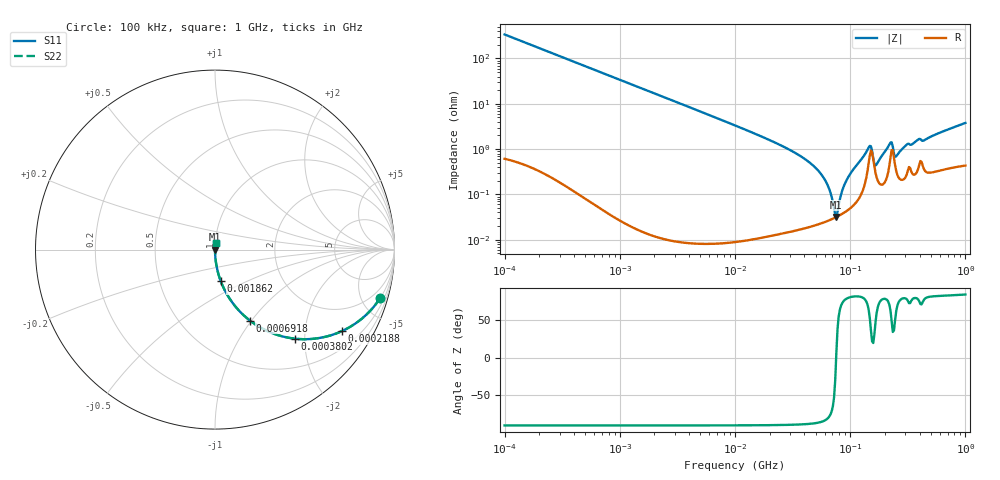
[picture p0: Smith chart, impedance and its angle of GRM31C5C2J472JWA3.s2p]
!Murata Part Number: GRM31C5C2J472JWA3
!These Parameters are Measured in Series Mode Connection
!Data Generated on Mar 30, 2021
!  o--ll--o
!Port1  Port2
!  o------o
!Operation Temp=25[degC], DC Bias Voltage=0[V]
!Freq. Start=100[kHz] Stop=1000[MHz] 401[Steps]
# Hz S RI R 50
!Freq.(Hz) S11(Real) S11(Imag) S21(Real) S21(Imag) S12(Real) S12(Imag) S22(Real) S22(Imag)
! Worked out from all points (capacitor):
!   401 points, 100 kHz to 1 GHz, reference 50 ohm
!   read as one part in series: C = 4.69 nF near 104.7 kHz
!   lowest |Z| = 32 mohm at 75.86 MHz (marker M1)
!   series resonance near 75.56 MHz, so ESL is about 950 pH
!   S11 on the Smith chart (normalised r, x): 100 kHz: 1.01, -6.78; 218.8 kHz: 1.01, -3.10; 380.2 kHz: 1.00, -1.79; 691.8 kHz: 1.00, -0.98; 1.862 MHz: 1.00, -0.36; 1 GHz: 1.01, +0.08
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100000  0.9195 -0.2711  0.0805 0.2711  0.0805 0.2711  0.9195 -0.2711
218776  0.7063 -0.4545  0.2937 0.4545  0.2937 0.4545  0.7063 -0.4545
380189  0.4441 -0.4962  0.5559 0.4962  0.5559 0.4962  0.4441 -0.4962
467735  0.3456 -0.475  0.6544 0.475  0.6544 0.475  0.3456 -0.475
691831  0.1946 -0.3954  0.8054 0.3954  0.8054 0.3954  0.1946 -0.3954
1862087  0.0323 -0.1765  0.9677 0.1765  0.9677 0.1765  0.0323 -0.1765
2187762  0.0236 -0.1516  0.9764 0.1516  0.9764 0.1516  0.0236 -0.1516
1e7  0.0012 -0.0333  0.9988 0.0333  0.9988 0.0333  0.0012 -0.0333
2.754229e7  0.000257 -0.0107  0.9997 0.0107  0.9997 0.0107  0.000257 -0.0107
4.677351e7  0.000219 -0.00453  0.9998 0.00453  0.9998 0.00453  0.000219 -0.00453
6.16595e7  0.000255 -0.00188  0.9997 0.00188  0.9997 0.00188  0.000255 -0.00188
6.76083e7  0.000278 -0.00103  0.9997 0.00103  0.9997 0.00103  0.000278 -0.00103
7.24436e7  0.0003 -0.000392  0.9997 0.000392  0.9997 0.000392  0.0003 -0.000392
7.585776e7  0.000317 3.66e-05  0.9997 -3.66e-05  0.9997 -3.66e-05  0.000317 3.66e-05
9.332543e7  0.000437 0.00206  0.9996 -0.00206  0.9996 -0.00206  0.000437 0.00206
1.44544e8  0.00487 0.00958  0.9951 -0.00958  0.9951 -0.00958  0.00487 0.00958
1.513561e8  0.00928 0.00668  0.9907 -0.00668  0.9907 -0.00668  0.00928 0.00668
1.698244e8  0.00236 0.00397  0.9976 -0.00397  0.9976 -0.00397  0.00236 0.00397
2.187762e8  0.00444 0.0118  0.9956 -0.0118  0.9956 -0.0118  0.00444 0.0118
2.511886e8  0.00328 0.00609  0.9967 -0.00609  0.9967 -0.00609  0.00328 0.00609
3.090295e8  0.00286 0.0121  0.9971 -0.0121  0.9971 -0.0121  0.00286 0.0121
1e9  0.00571 0.0373  0.9943 -0.0373  0.9943 -0.0373  0.00571 0.0373
